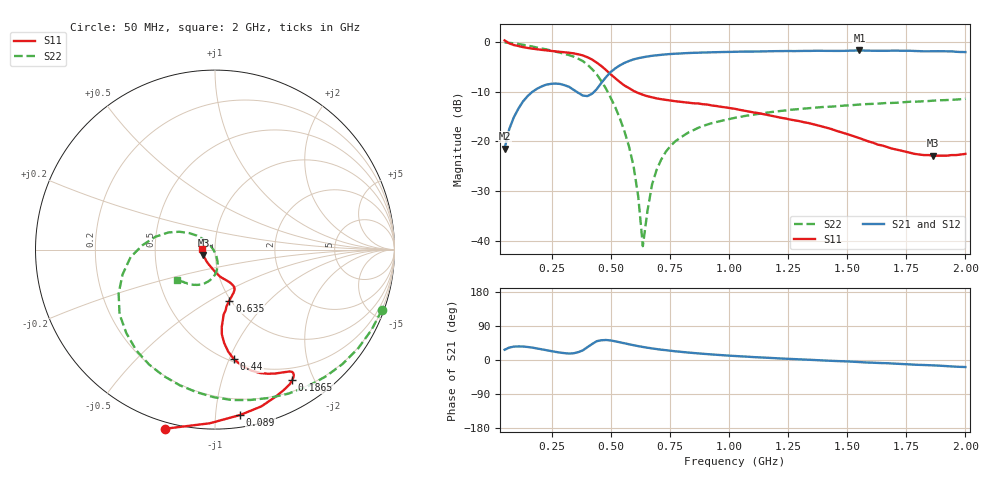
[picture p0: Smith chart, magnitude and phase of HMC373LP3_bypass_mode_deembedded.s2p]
!Hittite Microwave Corporation
!12 Elizabeth Drive
!Chelmsford, MA 01824
!Tel: 978-250-3343
!Fax: 978-250-3373
!Device: HMC373LP3, 750-1000 MHz, GaAs PHEMT MMIC Low Noise Amplifier with Bypass Mode in leadless QFN SMT package
!Misc: Vdd = 5V, Bypass Mode, data is deembedded to the pins of the device, Room
# MHZ S MA R 50
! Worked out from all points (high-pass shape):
!   101 points, 50 MHz to 2 GHz, reference 50 ohm
!   highest |S21| = -1.70 dB at 1.552 GHz (marker M1); lowest = -21.4 dB at 50 MHz (marker M2)
!   |S21| within 3 dB of the highest: 537.5 MHz to end of sweep
!   lowest |S11| = -22.9 dB at 1.863 GHz (marker M3), VSWR 1.16, Z = 43.8 - j2.79 ohm
!   |S11| at or under -10 dB: 603.4 MHz to end of sweep
!   |S22| runs from -41.0 to -0.1 dB; largest |S21 - S12| = 0.018
!   S11 on the Smith chart (normalised r, x): 50 MHz: -0.03, -0.76; 89 MHz: 0.08, -1.16; 186.5 MHz: 0.34, -1.70; 440 MHz: 0.52, -1.04; 635 MHz: 0.98, -0.61; 2 GHz: 0.86, +0.01
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50  1.036 -105.5  0.085 27.1  0.086 27.5  0.989 -19.8
89  0.932 -81.3  0.175 35.3  0.174 35.3  0.969 -34.6
128  0.888 -68.0  0.253 35.5  0.252 35.8  0.938 -49.0
186.5  0.845 -59.4  0.338 30.6  0.338 31.0  0.88 -69.9
284  0.796 -58.5  0.379 19.6  0.379 19.8  0.781 -104.6
381.5  0.732 -70.0  0.289 25.6  0.289 26.0  0.642 -145.9
440  0.62 -80.2  0.336 49.7  0.337 49.8  0.472 -174.9
498.5  0.474 -85.4  0.498 51.7  0.497 52.0  0.276 159.7
576.5  0.344 -80.1  0.644 41.5  0.644 41.7  0.089 138.9
596  0.322 -78.5  0.669 39.0  0.668 39.2  0.056 136.8
615.5  0.307 -76.3  0.687 36.6  0.686 36.9  0.028 141.1
635  0.295 -74.3  0.702 34.5  0.702 34.7  0.008867 -171.4
674  0.278 -70.6  0.727 30.6  0.725 30.8  0.037 -78.7
713  0.266 -67.8  0.743 27.2  0.743 27.5  0.066 -78.3
771.5  0.254 -65.2  0.762 23.1  0.76 23.3  0.1 -82.7
830  0.245 -63.7  0.775 19.5  0.774 19.8  0.124 -86.7
1025  0.213 -64.2  0.797 10.6  0.796 10.9  0.173 -99.3
1356.5  0.149 -80.5  0.815 0.1  0.813 0.2  0.218 -115.7
1551.5  0.108 -97.4  0.822 -5.5  0.813 -5.3  0.235 -124.1
1688  0.085 -118.1  0.818 -9.2  0.811 -9.3  0.244 -129.8
1863.5  0.072 -154.0  0.807 -14.2  0.801 -14.0  0.257 -136.5
2000  0.075 176.5  0.792 -18.5  0.785 -18.0  0.269 -141.6
